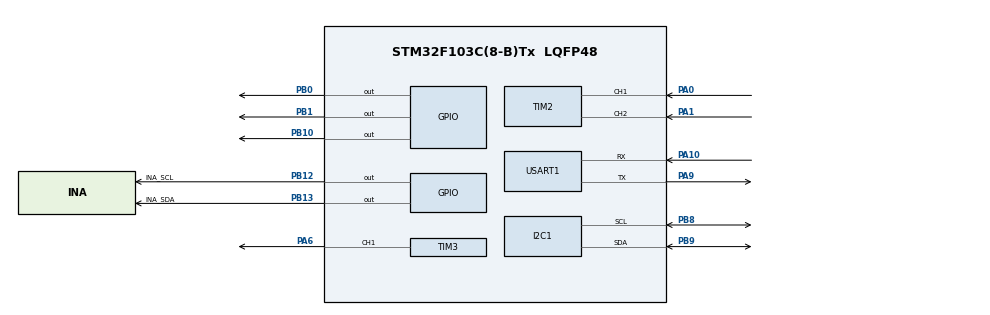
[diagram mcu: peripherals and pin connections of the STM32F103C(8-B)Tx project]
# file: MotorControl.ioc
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FREERTOS.Queues01=countQueue,4,uint32_t,0,Dynamic,NULL,NULL
FREERTOS.Tasks01=defaultTask,0,256,StartDefaultTask,Default,NULL,Dynamic,NULL,NULL;CounterTask,0,128,StartCounterTask,Default,NULL,Dynamic,NULL,NULL
Mcu.Family=STM32F1
Mcu.Name=STM32F103C(8-B)Tx
Mcu.Package=LQFP48
NVIC.PriorityGroup=NVIC_PRIORITYGROUP_4
NVIC.TIM1_UP_IRQn=true\:15\:0\:false\:false\:true\:false\:false\:true\:true
NVIC.TimeBase=TIM1_UP_IRQn
NVIC.TimeBaseIP=TIM1
NVIC.USART1_IRQn=true\:5\:0\:false\:false\:true\:true\:true\:true\:true
PA0-WKUP.Signal=S_TIM2_CH1_ETR
PA1.Signal=S_TIM2_CH2
PA10.Mode=Asynchronous
PA10.Signal=USART1_RX
PA13.Mode=Serial_Wire
PA13.Signal=SYS_JTMS-SWDIO
PA14.Mode=Serial_Wire
PA14.Signal=SYS_JTCK-SWCLK
PA6.Signal=S_TIM3_CH1
PA9.Mode=Asynchronous
PA9.Signal=USART1_TX
PB0.Signal=GPIO_Output
PB1.Signal=GPIO_Output
PB10.Signal=GPIO_Output
PB12.GPIO_Label=INA_SCL
PB12.GPIO_ModeDefaultOutputPP=GPIO_MODE_OUTPUT_OD
PB12.GPIO_PuPd=GPIO_NOPULL
PB12.PinState=GPIO_PIN_SET
PB12.Signal=GPIO_Output
PB13.GPIO_Label=INA_SDA
PB13.GPIO_ModeDefaultOutputPP=GPIO_MODE_OUTPUT_OD
PB13.GPIO_PuPd=GPIO_NOPULL
PB13.PinState=GPIO_PIN_SET
PB13.Signal=GPIO_Output
PB8.Mode=I2C
PB8.Signal=I2C1_SCL
PB9.Mode=I2C
PB9.Signal=I2C1_SDA
PC14-OSC32_IN.Mode=LSE-External-Oscillator
PC14-OSC32_IN.Signal=RCC_OSC32_IN
PC15-OSC32_OUT.Mode=LSE-External-Oscillator
PC15-OSC32_OUT.Signal=RCC_OSC32_OUT
PD0-OSC_IN.Mode=HSE-External-Oscillator
PD0-OSC_IN.Signal=RCC_OSC_IN
PD1-OSC_OUT.Mode=HSE-External-Oscillator
PD1-OSC_OUT.Signal=RCC_OSC_OUT
ProjectManager.HeapSize=0x200
ProjectManager.StackSize=0x400
ProjectManager.TargetToolchain=MDK-ARM V5.32
RCC.APB1Freq_Value=8000000
RCC.APB2Freq_Value=8000000
SH.S_TIM2_CH1_ETR.0=TIM2_CH1,Encoder_Interface
SH.S_TIM2_CH2.0=TIM2_CH2,Encoder_Interface
SH.S_TIM3_CH1.0=TIM3_CH1,PWM Generation1 CH1
TIM2.EncoderMode=TIM_ENCODERMODE_TI12
TIM3.Channel-PWM\ Generation1\ CH1=TIM_CHANNEL_1
TIM3.Period=399
USART1.VirtualMode=VM_ASYNC
VP_FREERTOS_VS_CMSIS_V1.Mode=CMSIS_V1
VP_SYS_VS_tim1.Mode=TIM1
VP_TIM3_VS_ClockSourceINT.Mode=Internal
board=custom

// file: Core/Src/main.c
/* USER CODE BEGIN Header */
/**
  ******************************************************************************
  * @file           : main.c
  * @brief          : Main program body
  ******************************************************************************
  * @attention
  *
  * Copyright (c) 2026 STMicroelectronics.
  * All rights reserved.
  *
  * This software is licensed under terms that can be found in the LICENSE file
  * in the root directory of this software component.
  * If no LICENSE file comes with this software, it is provided AS-IS.
  *
  ******************************************************************************
  */
/* USER CODE END Header */
#include "main.h"
#include "cmsis_os.h"
#include "i2c.h"
#include "tim.h"
#include "usart.h"
#include "gpio.h"

/* USER CODE BEGIN Includes */
#include "OLED.h"
/* USER CODE END Includes */

void SystemClock_Config(void);
void MX_FREERTOS_Init(void);

/* USER CODE BEGIN 0 */
/* 用CPU周期计数器产生约10us延时 */
static void INA_SoftDelay(void)
{
  uint32_t start = DWT->CYCCNT;
  uint32_t cycles = SystemCoreClock / 100000U;

  while ((uint32_t)(DWT->CYCCNT - start) < cycles)
  {
  }
}

/* 释放SCL，等待线路实际变高；超时返回0 */
static uint8_t INA_SCL_High(void)
{
  uint32_t startTick = HAL_GetTick();

  HAL_GPIO_WritePin(INA_SCL_GPIO_Port,
                    INA_SCL_Pin, GPIO_PIN_SET);

  while (HAL_GPIO_ReadPin(INA_SCL_GPIO_Port,
                          INA_SCL_Pin) == GPIO_PIN_RESET)
  {
    if ((uint32_t)(HAL_GetTick() - startTick) >= 2U)
    {
      return 0;
    }
  }

  INA_SoftDelay();
  return 1;
}

/* 发送七位地址，收到ACK返回1，否则返回0 */
static uint8_t INA_CheckAddress(uint8_t address)
{
  uint8_t data = (uint8_t)(address << 1);
  uint8_t i;
  uint8_t ack = 0;

  /* 总线空闲：两根线都释放 */
  HAL_GPIO_WritePin(INA_SDA_GPIO_Port,
                    INA_SDA_Pin, GPIO_PIN_SET);

  if (INA_SCL_High() == 0U)
  {
    return 0;
  }

  if (HAL_GPIO_ReadPin(INA_SDA_GPIO_Port,
                       INA_SDA_Pin) == GPIO_PIN_RESET)
  {
    return 0;
  }

  /* START：SCL高时，SDA由高变低 */
  HAL_GPIO_WritePin(INA_SDA_GPIO_Port,
                    INA_SDA_Pin, GPIO_PIN_RESET);
  INA_SoftDelay();

  HAL_GPIO_WritePin(INA_SCL_GPIO_Port,
                    INA_SCL_Pin, GPIO_PIN_RESET);
  INA_SoftDelay();

  /* 发送地址字节，最高位先发，最后一位为写方向0 */
  for (i = 0; i < 8U; i++)
  {
    HAL_GPIO_WritePin(INA_SDA_GPIO_Port,
                      INA_SDA_Pin,
                      (data & 0x80U) ? GPIO_PIN_SET
                                     : GPIO_PIN_RESET);
    INA_SoftDelay();

    if (INA_SCL_High() == 0U)
    {
      goto stop;
    }

    HAL_GPIO_WritePin(INA_SCL_GPIO_Port,
                      INA_SCL_Pin, GPIO_PIN_RESET);
    INA_SoftDelay();

    data = (uint8_t)(data << 1);
  }

  /* 第9个时钟：释放SDA，让从机发送ACK */
  HAL_GPIO_WritePin(INA_SDA_GPIO_Port,
                    INA_SDA_Pin, GPIO_PIN_SET);
  INA_SoftDelay();

  if (INA_SCL_High() == 0U)
  {
    goto stop;
  }

  ack = (HAL_GPIO_ReadPin(INA_SDA_GPIO_Port,
                          INA_SDA_Pin) == GPIO_PIN_RESET)
        ? 1U : 0U;

  HAL_GPIO_WritePin(INA_SCL_GPIO_Port,
                    INA_SCL_Pin, GPIO_PIN_RESET);
  INA_SoftDelay();

stop:
  /* STOP：SCL高时，SDA由低变高 */
  HAL_GPIO_WritePin(INA_SDA_GPIO_Port,
                    INA_SDA_Pin, GPIO_PIN_RESET);
  INA_SoftDelay();

  if (INA_SCL_High() == 0U)
  {
    HAL_GPIO_WritePin(INA_SDA_GPIO_Port,
                      INA_SDA_Pin, GPIO_PIN_SET);
    return 0;
  }

  HAL_GPIO_WritePin(INA_SDA_GPIO_Port,
                    INA_SDA_Pin, GPIO_PIN_SET);
  INA_SoftDelay();

  return ack;
}

/* 发送一个字节，收到ACK返回1 */
static uint8_t INA_SendByte(uint8_t data)
{
  uint8_t i;
  uint8_t ack;

  for (i = 0; i < 8U; i++)
  {
    HAL_GPIO_WritePin(INA_SDA_GPIO_Port, INA_SDA_Pin,
                      (data & 0x80U) ? GPIO_PIN_SET
                                     : GPIO_PIN_RESET);
    INA_SoftDelay();

    if (INA_SCL_High() == 0U)
    {
      return 0;
    }

    HAL_GPIO_WritePin(INA_SCL_GPIO_Port,
                      INA_SCL_Pin, GPIO_PIN_RESET);
    INA_SoftDelay();

    data = (uint8_t)(data << 1);
  }

  /* 释放SDA，读取第9个时钟上的ACK */
  HAL_GPIO_WritePin(INA_SDA_GPIO_Port,
                    INA_SDA_Pin, GPIO_PIN_SET);
  INA_SoftDelay();

  if (INA_SCL_High() == 0U)
  {
    return 0;
  }

  ack = (HAL_GPIO_ReadPin(INA_SDA_GPIO_Port,
                          INA_SDA_Pin) == GPIO_PIN_RESET)
        ? 1U : 0U;

  HAL_GPIO_WritePin(INA_SCL_GPIO_Port,
                    INA_SCL_Pin, GPIO_PIN_RESET);
  HAL_GPIO_WritePin(INA_SDA_GPIO_Port,
                    INA_SDA_Pin, GPIO_PIN_SET);
  INA_SoftDelay();

  return ack;
}

/* 读取一个16位寄存器；成功返回1，失败返回0 */
 uint8_t INA_ReadRegister(uint8_t address,
                                uint8_t reg,
                                uint16_t *value)
{
  uint8_t bit;
  uint8_t success = 0;
  uint16_t data = 0;

  if (value == NULL)
  {
    return 0;
  }

  /* 检查空闲总线 */
  HAL_GPIO_WritePin(INA_SDA_GPIO_Port,
                    INA_SDA_Pin, GPIO_PIN_SET);

  if (INA_SCL_High() == 0U)
  {
    goto stop;
  }

  if (HAL_GPIO_ReadPin(INA_SDA_GPIO_Port,
                       INA_SDA_Pin) == GPIO_PIN_RESET)
  {
    goto stop;
  }

  /* START */
  HAL_GPIO_WritePin(INA_SDA_GPIO_Port,
                    INA_SDA_Pin, GPIO_PIN_RESET);
  INA_SoftDelay();
  HAL_GPIO_WritePin(INA_SCL_GPIO_Port,
                    INA_SCL_Pin, GPIO_PIN_RESET);
  INA_SoftDelay();

  /* 写方向地址，然后发送寄存器地址 */
  if (INA_SendByte((uint8_t)(address << 1)) == 0U ||
      INA_SendByte(reg) == 0U)
  {
    goto stop;
  }

  /* 重复START */
  HAL_GPIO_WritePin(INA_SDA_GPIO_Port,
                    INA_SDA_Pin, GPIO_PIN_SET);
  INA_SoftDelay();

  if (INA_SCL_High() == 0U)
  {
    goto stop;
  }

  HAL_GPIO_WritePin(INA_SDA_GPIO_Port,
                    INA_SDA_Pin, GPIO_PIN_RESET);
  INA_SoftDelay();
  HAL_GPIO_WritePin(INA_SCL_GPIO_Port,
                    INA_SCL_Pin, GPIO_PIN_RESET);
  INA_SoftDelay();

  /* 读方向地址 */
  if (INA_SendByte((uint8_t)((address << 1) | 1U)) == 0U)
  {
    goto stop;
  }

  /* 接收16位数据：高字节在前 */
  HAL_GPIO_WritePin(INA_SDA_GPIO_Port,
                    INA_SDA_Pin, GPIO_PIN_SET);
  INA_SoftDelay();

  for (bit = 0; bit < 16U; bit++)
  {
    if (INA_SCL_High() == 0U)
    {
      goto stop;
    }

    data = (uint16_t)((data << 1) |
           ((HAL_GPIO_ReadPin(INA_SDA_GPIO_Port,
                              INA_SDA_Pin) == GPIO_PIN_SET)
            ? 1U : 0U));

    HAL_GPIO_WritePin(INA_SCL_GPIO_Port,
                      INA_SCL_Pin, GPIO_PIN_RESET);
    INA_SoftDelay();

    /* 高字节后发ACK，低字节后发NACK */
    if (bit == 7U || bit == 15U)
    {
      HAL_GPIO_WritePin(INA_SDA_GPIO_Port, INA_SDA_Pin,
                        (bit == 7U) ? GPIO_PIN_RESET
                                    : GPIO_PIN_SET);
      INA_SoftDelay();

      if (INA_SCL_High() == 0U)
      {
        goto stop;
      }

      HAL_GPIO_WritePin(INA_SCL_GPIO_Port,
                        INA_SCL_Pin, GPIO_PIN_RESET);
      INA_SoftDelay();
      HAL_GPIO_WritePin(INA_SDA_GPIO_Port,
                        INA_SDA_Pin, GPIO_PIN_SET);
      INA_SoftDelay();
    }
  }

  success = 1;

stop:
  /* 成功或失败都尝试产生STOP并释放线路 */
  HAL_GPIO_WritePin(INA_SCL_GPIO_Port,
                    INA_SCL_Pin, GPIO_PIN_RESET);
  HAL_GPIO_WritePin(INA_SDA_GPIO_Port,
                    INA_SDA_Pin, GPIO_PIN_RESET);
  INA_SoftDelay();

  if (INA_SCL_High() == 0U)
  {
    HAL_GPIO_WritePin(INA_SDA_GPIO_Port,
                      INA_SDA_Pin, GPIO_PIN_SET);
    return 0;
  }

  HAL_GPIO_WritePin(INA_SDA_GPIO_Port,
                    INA_SDA_Pin, GPIO_PIN_SET);
  INA_SoftDelay();

  if (success != 0U)
  {
    *value = data;
  }

  return success;
}
/* USER CODE END 0 */

int main(void)
{

  /* USER CODE BEGIN 1 */
  uint8_t inaAddress;
  uint16_t inaMfr = 0;
  uint16_t inaDie = 0;
  uint16_t inaBusRaw = 0;
  uint32_t inaBusmV = 0;
  /* USER CODE END 1 */

  /* MCU Configuration--------------------------------------------------------*/

  /* Reset of all peripherals, Initializes the Flash interface and the Systick. */
  HAL_Init();

  /* Configure the system clock */
  SystemClock_Config();

  /* Initialize all configured peripherals */
  MX_GPIO_Init();
  MX_I2C1_Init();
  MX_USART1_UART_Init();
  MX_TIM3_Init();
  MX_TIM2_Init();
  /* USER CODE BEGIN 2 */
  /* 编码器计数器清零 */
  __HAL_TIM_SET_COUNTER(&htim2, 0);

  /* 开启编码器的两个输入通道 */
  if (HAL_TIM_Encoder_Start(&htim2, TIM_CHANNEL_ALL) != HAL_OK)
  {
    Error_Handler();
  }
  /* 驱动保持待机，禁止电机输出 */
  HAL_GPIO_WritePin(GPIOB, GPIO_PIN_10, GPIO_PIN_RESET);

  /* 两个方向控制脚初始为低 */
  HAL_GPIO_WritePin(GPIOB,
                    GPIO_PIN_0 | GPIO_PIN_1,
                    GPIO_PIN_RESET);

  /* 初始占空比为0% */
  __HAL_TIM_SET_COMPARE(&htim3, TIM_CHANNEL_1, 0);

  /* 启动PWM通道，但保持0%占空比 */
  if (HAL_TIM_PWM_Start(&htim3, TIM_CHANNEL_1) != HAL_OK)
  {
    Error_Handler();
  }
  OLED_Init();

  if (OLED_GetStatus() != HAL_OK)
  {
	  Error_Handler();
  }

  /* 开启CPU周期计数器 */
  CoreDebug->DEMCR |= CoreDebug_DEMCR_TRCENA_Msk;
  DWT->CYCCNT = 0;
  DWT->CTRL |= DWT_CTRL_CYCCNTENA_Msk;

  HAL_Delay(1);

  /* 确认周期计数器确实在运行，避免短延时死等 */
  if (DWT->CYCCNT == 0U)
  {
    OLED_ShowString(1, 1, "INA: DWT ERROR  ");
  }
  else
  {
    for (inaAddress = 0x40U;
         inaAddress <= 0x4FU;
         inaAddress++)
    {
      if (INA_CheckAddress(inaAddress) != 0U)
      {
        break;
      }
    }

    if (inaAddress <= 0x4FU)
    {
      OLED_ShowString(1, 1, "INA ADDR: 0x    ");
      OLED_ShowHexNum(1, 13, inaAddress, 2);

      if (INA_ReadRegister(inaAddress, 0xFEU, &inaMfr) != 0U &&
          INA_ReadRegister(inaAddress, 0xFFU, &inaDie) != 0U)
      {
        OLED_ShowString(2, 1, "MFR: 0x         ");
        OLED_ShowHexNum(2, 8, inaMfr, 4);

        OLED_ShowString(3, 1, "DIE: 0x         ");
        OLED_ShowHexNum(3, 8, inaDie, 4);
        /* 读取总线电压，每个计数为1.25mV */
        if (INA_ReadRegister(inaAddress, 0x02U, &inaBusRaw) != 0U)
        {
          /* 使用整数运算，换算为毫伏 */
          inaBusmV = ((uint32_t)inaBusRaw * 125U) / 100U;

          OLED_ShowString(4, 1, "BUS: 00000mV    ");
          OLED_ShowNum(4, 6, inaBusmV, 5);
        }
        else
        {
          OLED_ShowString(4, 1, "BUS READ FAILED ");
        }
      }
      else
      {
        OLED_ShowString(2, 1, "INA READ FAILED ");
        OLED_ShowString(3, 1, "                ");
      }
    }
    else
    {
      OLED_ShowString(1, 1, "INA: NOT FOUND  ");
    }
  }

  /* 保留结果3秒，然后继续原程序 */
  HAL_Delay(3000);
  OLED_Clear();
  OLED_ShowString(1, 1, "HAL OLED OK");
  OLED_ShowNum(2, 1, 12345, 5);
  if (HAL_UART_Transmit(&huart1,
                      (uint8_t *)"UART OK\r\n",
                      9,
                      100) != HAL_OK)
  {
      Error_Handler();
  }
  /* USER CODE END 2 */

  /* Call init function for freertos objects (in cmsis_os2.c) */
  MX_FREERTOS_Init();

  /* Start scheduler */
  osKernelStart();

  /* We should never get here as control is now taken by the scheduler */

  /* Infinite loop */
  while (1)
  {

  }
}

void SystemClock_Config(void)
{
  RCC_OscInitTypeDef RCC_OscInitStruct = {0};
  RCC_ClkInitTypeDef RCC_ClkInitStruct = {0};

  /** Initializes the RCC Oscillators according to the specified parameters
  * in the RCC_OscInitTypeDef structure.
  */
  RCC_OscInitStruct.OscillatorType = RCC_OSCILLATORTYPE_HSI;
  RCC_OscInitStruct.HSIState = RCC_HSI_ON;
  RCC_OscInitStruct.HSICalibrationValue = RCC_HSICALIBRATION_DEFAULT;
  RCC_OscInitStruct.PLL.PLLState = RCC_PLL_NONE;
  if (HAL_RCC_OscConfig(&RCC_OscInitStruct) != HAL_OK)
  {
    Error_Handler();
  }

  /** Initializes the CPU, AHB and APB buses clocks
  */
  RCC_ClkInitStruct.ClockType = RCC_CLOCKTYPE_HCLK|RCC_CLOCKTYPE_SYSCLK
                              |RCC_CLOCKTYPE_PCLK1|RCC_CLOCKTYPE_PCLK2;
  RCC_ClkInitStruct.SYSCLKSource = RCC_SYSCLKSOURCE_HSI;
  RCC_ClkInitStruct.AHBCLKDivider = RCC_SYSCLK_DIV1;
  RCC_ClkInitStruct.APB1CLKDivider = RCC_HCLK_DIV1;
  RCC_ClkInitStruct.APB2CLKDivider = RCC_HCLK_DIV1;

  if (HAL_RCC_ClockConfig(&RCC_ClkInitStruct, FLASH_LATENCY_0) != HAL_OK)
  {
    Error_Handler();
  }
}

void HAL_TIM_PeriodElapsedCallback(TIM_HandleTypeDef *htim)
{
  if (htim->Instance == TIM1)
  {
    HAL_IncTick();
  }
}

void Error_Handler(void)
{
  __disable_irq();
  while (1)
  {
  }
}

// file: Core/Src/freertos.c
/* USER CODE BEGIN Header */
/**
  ******************************************************************************
  * File Name          : freertos.c
  * Description        : Code for freertos applications
  ******************************************************************************
  * @attention
  *
  * Copyright (c) 2026 STMicroelectronics.
  * All rights reserved.
  *
  * This software is licensed under terms that can be found in the LICENSE file
  * in the root directory of this software component.
  * If no LICENSE file comes with this software, it is provided AS-IS.
  *
  ******************************************************************************
  */
/* USER CODE END Header */

#include "FreeRTOS.h"
#include "task.h"
#include "main.h"
#include "cmsis_os.h"

/* USER CODE BEGIN Includes */
#include "OLED.h"
#include "usart.h"
#include "tim.h"
/* USER CODE END Includes */

/* USER CODE BEGIN PD */
#define MOTOR_FAULT_NONE          0U
#define MOTOR_FAULT_NO_ENCODER    1U
#define MOTOR_FAULT_OVERCURRENT   2U
#define MOTOR_FAULT_INA_READ      3U

#define INA_READ_FAIL_TEST  0U

/* USER CODE END PD */

/* USER CODE BEGIN Variables */
static osMessageQId uartRxQueueHandle;
static uint8_t uartRxByte;

static volatile uint32_t uartRxDropCount = 0;
/* USER CODE END Variables */
osThreadId defaultTaskHandle;
osThreadId CounterTaskHandle;
osMessageQId countQueueHandle;

/* USER CODE BEGIN FunctionPrototypes */
static void Motor_Stop(void);
static void Motor_RunTest(void);
/* USER CODE END FunctionPrototypes */

void StartDefaultTask(void const * argument);
void StartCounterTask(void const * argument);

void MX_FREERTOS_Init(void); /* (MISRA C 2004 rule 8.1) */

/* GetIdleTaskMemory prototype (linked to static allocation support) */
void vApplicationGetIdleTaskMemory( StaticTask_t **ppxIdleTaskTCBBuffer, StackType_t **ppxIdleTaskStackBuffer, uint32_t *pulIdleTaskStackSize );

/* USER CODE BEGIN GET_IDLE_TASK_MEMORY */
static StaticTask_t xIdleTaskTCBBuffer;
static StackType_t xIdleStack[configMINIMAL_STACK_SIZE];

void vApplicationGetIdleTaskMemory( StaticTask_t **ppxIdleTaskTCBBuffer, StackType_t **ppxIdleTaskStackBuffer, uint32_t *pulIdleTaskStackSize )
{
  *ppxIdleTaskTCBBuffer = &xIdleTaskTCBBuffer;
  *ppxIdleTaskStackBuffer = &xIdleStack[0];
  *pulIdleTaskStackSize = configMINIMAL_STACK_SIZE;
  /* place for user code */
}
/* USER CODE END GET_IDLE_TASK_MEMORY */

void MX_FREERTOS_Init(void) {

  /* Create the queue(s) */
  /* definition and creation of countQueue */
  osMessageQDef(countQueue, 4, uint32_t);
  countQueueHandle = osMessageCreate(osMessageQ(countQueue), NULL);

  /* USER CODE BEGIN RTOS_QUEUES */
  osMessageQDef(uartRxQueue, 16, uint32_t);
  uartRxQueueHandle = osMessageCreate(osMessageQ(uartRxQueue), NULL);

  if (uartRxQueueHandle == NULL)
  {
    Error_Handler();
  }
  /* USER CODE END RTOS_QUEUES */

  /* Create the thread(s) */
  /* definition and creation of defaultTask */
  osThreadDef(defaultTask, StartDefaultTask, osPriorityNormal, 0, 256);
  defaultTaskHandle = osThreadCreate(osThread(defaultTask), NULL);

  /* definition and creation of CounterTask */
  osThreadDef(CounterTask, StartCounterTask, osPriorityNormal, 0, 128);
  CounterTaskHandle = osThreadCreate(osThread(CounterTask), NULL);

  /* USER CODE BEGIN RTOS_THREADS */
  if (countQueueHandle == NULL ||
    defaultTaskHandle == NULL ||
    CounterTaskHandle == NULL)
{
  Error_Handler();
}
  /* USER CODE END RTOS_THREADS */

}

void StartDefaultTask(void const * argument)
{
  /* USER CODE BEGIN StartDefaultTask */
  osEvent event;
  uint8_t ch;
  uint8_t running = 0;
  uint32_t runStartTick = 0;
  uint16_t encoderCount;
  uint16_t lastEncoderCount = 0;
  uint16_t speedLastCount;
  uint32_t speedLastTick;
  uint32_t nowTick;
  uint32_t elapsedMs;
  int32_t countDelta;
  int32_t speedCps;
  uint16_t inaShuntRaw;
  int32_t inaShuntCount;
  int32_t inaCurrentmA;
  uint8_t motorFault = MOTOR_FAULT_NONE;
  uint16_t motionLastCount = 0;
  uint32_t lastMotionTick = 0;
  uint8_t inaReadOk;
  const int32_t targetCps = 1000;
  const int32_t basePwm = 60;

  const float kp = 0.02f;
  const float ki = 0.05f;

  int32_t speedError;
  int32_t pwmCompare = 80;

  float dt;
  float pTerm;
  float integralTerm = 0.0f;
  float integralNext;
  float output;

  /* 当前空载、PWM不超过20%工况的实验性电流报警阈值 */
  const int32_t currentTripmA = 20;

  uint8_t overCurrentHits = 0;

  OLED_ShowString(1, 1, "ENC: 00000      ");
  OLED_ShowString(2, 1, "MOTOR: STOP     ");
  OLED_ShowString(3, 1, "RX:   I:+00000mA");
  OLED_ShowString(4, 1, "00000 V:+00000  ");

  speedLastCount = (uint16_t)__HAL_TIM_GET_COUNTER(&htim2);
  speedLastTick = HAL_GetTick();

  if (HAL_UART_Receive_IT(&huart1, &uartRxByte, 1) != HAL_OK)
  {
    Error_Handler();
  }

  for (;;)
  {
    /* 保留原来的计数显示 */
    event = osMessageGet(countQueueHandle, 20);

    if (event.status == osEventMessage)
    {
      OLED_ShowNum(4, 1, event.value.v, 5);
    }

    /* 处理串口字符 */
    event = osMessageGet(uartRxQueueHandle, 0);

    if (event.status == osEventMessage)
    {
      ch = (uint8_t)event.value.v;

      if (ch >= 0x20U && ch <= 0x7EU)
      {
        OLED_ShowChar(3, 5, (char)ch);
      }

      if ((ch == 'R' || ch == 'r') &&
          running == 0 &&
          motorFault == MOTOR_FAULT_NONE)
      {
        pwmCompare = 80;
        integralTerm = 0.0f;
        overCurrentHits = 0;

        /* 建立测速起点 */
        speedLastCount =
            (uint16_t)__HAL_TIM_GET_COUNTER(&htim2);

        speedLastTick = HAL_GetTick();
        runStartTick = speedLastTick;

        /* 建立无反馈检测起点 */
        motionLastCount = speedLastCount;
        lastMotionTick = runStartTick;

        Motor_RunTest();
        running = 1;

        OLED_ShowString(2, 1, "RUN PWM:020%    ");
      }
      else if (ch == 'S' || ch == 's')
      {
        Motor_Stop();
        running = 0;
        integralTerm = 0.0f;
        pwmCompare = 0;

        /* S停止，同时允许人工清除故障 */
        motorFault = MOTOR_FAULT_NONE;

        OLED_ShowString(2, 1, "MOTOR: STOP     ");
      }
    }

    /* 非阻塞计时：到期后停止 */
    if (running != 0 &&
        (uint32_t)(HAL_GetTick() - runStartTick) >= 5000U)
    {
      Motor_Stop();
      running = 0;
      integralTerm = 0.0f;
      pwmCompare = 0;

      OLED_ShowString(2, 1, "MOTOR: STOP     ");
    }

    /* 记录本次采样时间和计数 */
    nowTick = HAL_GetTick();
    encoderCount = (uint16_t)__HAL_TIM_GET_COUNTER(&htim2);

    /* 只在电机运行状态下检测 */
    if (running != 0)
    {
      /* 计数发生变化，更新最近一次检测到运动的时间 */
      if (encoderCount != motionLastCount)
      {
        motionLastCount = encoderCount;
        lastMotionTick = nowTick;
      }

      /* 连续约500ms未检测到计数变化 */
      if ((uint32_t)(nowTick - lastMotionTick) >= 500U)
      {
        Motor_Stop();
        running = 0;
        integralTerm = 0.0f;
        pwmCompare = 0;

        /* 锁定故障，禁止R直接重启 */
        motorFault = MOTOR_FAULT_NO_ENCODER;

        OLED_ShowString(2, 1, "FAULT: NO ENC   ");
      }
    }

    /* 第一行继续显示累计计数 */
    if (encoderCount != lastEncoderCount)
    {
      OLED_ShowNum(1, 6, encoderCount, 5);
      lastEncoderCount = encoderCount;
    }

    /* 每隔约100ms计算一次速度 */
    elapsedMs = (uint32_t)(nowTick - speedLastTick);

    if (elapsedMs >= 100U)
    {
      countDelta = (int32_t)encoderCount
                 - (int32_t)speedLastCount;

      /* 处理16位计数器在0与65535之间的回绕 */
      if (countDelta > 32767)
      {
        countDelta -= 65536;
      }
      else if (countDelta < -32768)
      {
        countDelta += 65536;
      }

      /* 按实际时间间隔换算成计数/秒 */
      speedCps = (countDelta * 1000) / (int32_t)elapsedMs;

      speedLastCount = encoderCount;
      speedLastTick = nowTick;

      if (running != 0)
      {
        speedError = targetCps - speedCps;

        /* 使用实际采样间隔，单位：秒 */
        dt = (float)elapsedMs / 1000.0f;

        /* 比例修正 */
        pTerm = kp * (float)speedError;

        /* 先计算本次准备采用的积分补偿 */
        integralNext = integralTerm
                     + ki * (float)speedError * dt;

        /* 积分补偿限制在-20～+20个比较值计数 */
        if (integralNext > 20.0f)
        {
          integralNext = 20.0f;
        }
        else if (integralNext < -20.0f)
        {
          integralNext = -20.0f;
        }

        output = (float)basePwm + pTerm + integralNext;

        /*
         * 如果输出越界，而且误差会让它继续向外增加，
         * 则放弃本次积分更新，保留原来的积分值。
         */
        if ((output > 80.0f && speedError > 0) ||
            (output < 0.0f && speedError < 0))
        {
          integralNext = integralTerm;
        }

        integralTerm = integralNext;

        /* 用最终接受的积分值计算输出 */
        output = (float)basePwm + pTerm + integralTerm;

        /* 最终输出限制：0%～20% */
        if (output > 80.0f)
        {
          output = 80.0f;
        }
        else if (output < 0.0f)
        {
          output = 0.0f;
        }

        /* 非负输出四舍五入成整数比较值 */
        pwmCompare = (int32_t)(output + 0.5f);

        __HAL_TIM_SET_COMPARE(&htim3,
                              TIM_CHANNEL_1,
                              (uint32_t)pwmCompare);

        OLED_ShowNum(2, 9,
                     (uint32_t)pwmCompare / 4U,
                     3);
      }

      OLED_ShowSignedNum(4, 9, speedCps, 5);

      /* 先执行真实读取 */
      inaReadOk = INA_ReadRegister(0x40U, 0x01U, &inaShuntRaw);

      #if INA_READ_FAIL_TEST
      /* 进入运行状态约200ms后，模拟一次读取失败 */
      if (running != 0 &&
          (uint32_t)(nowTick - runStartTick) >= 200U)
      {
        inaReadOk = 0U;
      }
      #endif

      if (inaReadOk != 0U)
      {
        inaShuntCount = (int32_t)inaShuntRaw;

        /* 还原16位有符号数 */
        if ((inaShuntRaw & 0x8000U) != 0U)
        {
          inaShuntCount -= 65536;
        }

        inaCurrentmA = inaShuntCount / 4;

        OLED_ShowSignedNum(3, 9, inaCurrentmA, 5);
        OLED_ShowString(3, 15, "mA");

        /*
         * 仅运行时检测。
         * 启动后的前300ms暂不判断电流超限。
         */
        if (running != 0 &&
            (uint32_t)(nowTick - runStartTick) >= 300U)
        {
          if (inaCurrentmA >= currentTripmA)
          {
            if (overCurrentHits < 3U)
            {
              overCurrentHits++;
            }
          }
          else
          {
            /* 必须连续超限，中间恢复正常就重新计数 */
            overCurrentHits = 0;
          }

          if (overCurrentHits >= 3U)
          {
            Motor_Stop();
            running = 0;
            integralTerm = 0.0f;
            pwmCompare = 0;

            motorFault = MOTOR_FAULT_OVERCURRENT;
            overCurrentHits = 0;

            OLED_ShowString(2, 1, "FAULT: CURRENT  ");
          }
        }
        else
        {
          overCurrentHits = 0;
        }
      }
      else
      {
        OLED_ShowString(3, 9, "  ERR   ");
        overCurrentHits = 0;

        /* 运行期间失去电流监测，停止输出并锁定故障 */
        if (running != 0)
        {
          Motor_Stop();
          running = 0;
          integralTerm = 0.0f;
          pwmCompare = 0;

          motorFault = MOTOR_FAULT_INA_READ;

          OLED_ShowString(2, 1, "FAULT: INA I2C  ");
        }
      }
    }
  }
  /* USER CODE END StartDefaultTask */
}

void StartCounterTask(void const * argument)
{
  /* USER CODE BEGIN StartCounterTask */
  uint32_t count = 0;

  for (;;)
  {
    /* 每秒发送一次任务计数 */
    if (osMessagePut(countQueueHandle,
                     count,
                     osWaitForever) == osOK)
    {
      count++;
    }

    osDelay(1000);
  }
  /* USER CODE END StartCounterTask */
}

/* USER CODE BEGIN Application */
static void Motor_Stop(void)
{
  /* 先禁止驱动输出 */
  HAL_GPIO_WritePin(GPIOB, GPIO_PIN_10, GPIO_PIN_RESET);

  __HAL_TIM_SET_COMPARE(&htim3, TIM_CHANNEL_1, 0);

  HAL_GPIO_WritePin(GPIOB,
                    GPIO_PIN_0 | GPIO_PIN_1,
                    GPIO_PIN_RESET);
}

static void Motor_RunTest(void)
{
  /* 在停止状态下设置方向和占空比 */
  Motor_Stop();

  HAL_GPIO_WritePin(GPIOB, GPIO_PIN_0, GPIO_PIN_SET);

  __HAL_TIM_SET_COMPARE(&htim3, TIM_CHANNEL_1, 80);

  /* 最后使能驱动 */
  HAL_GPIO_WritePin(GPIOB, GPIO_PIN_10, GPIO_PIN_SET);
}
void HAL_UART_RxCpltCallback(UART_HandleTypeDef *huart)
{
    if (huart->Instance == USART1)
    {
        /* 中断里不能等待：队列满时记录丢弃次数 */
        if (osMessagePut(uartRxQueueHandle,
                         (uint32_t)uartRxByte,
                         0) != osOK)
        {
            uartRxDropCount++;
        }

        /* 本次接收已经结束，重新开启下一个字节的接收 */
        HAL_UART_Receive_IT(&huart1, &uartRxByte, 1);
    }
}
/* USER CODE END Application */
